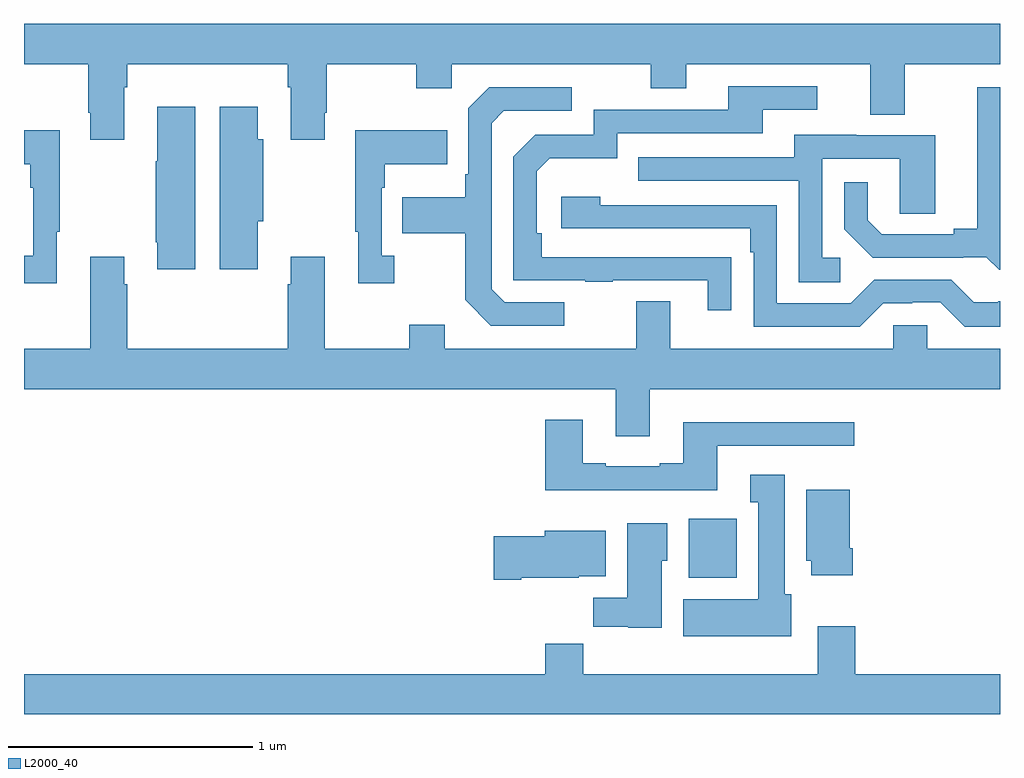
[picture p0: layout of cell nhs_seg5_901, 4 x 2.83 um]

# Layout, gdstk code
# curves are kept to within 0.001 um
import gdstk
lib = gdstk.Library(unit=1e-6, precision=1e-09)
def R(c, l, rs):  # rectangles x0, y0, x1, y1
    for r in rs: c.add(gdstk.rectangle(r[:2], r[2:], *l))
def P(c, l, *ps):  # polygons
    for p in ps: c.add(gdstk.Polygon(p, *l))
L2000_40 = (2000, 40)

nhs_seg5_901 = lib.new_cell('nhs_seg5_901')
R(nhs_seg5_901, L2000_40, [(171.725,851.99,171.922,852.232)])
P(nhs_seg5_901, L2000_40, [(169.411,854),(169.424,854),(169.424,854.096),(170.081,854.096),(170.081,854),(170.093,854),(170.093,853.785),(170.233,853.785),(170.233,853.897),(170.241,853.897),(170.241,854.096),(170.608,854.096),(170.608,853.997),(170.754,853.997),(170.754,854.096),(171.568,854.096),(171.568,853.997),(171.715,853.997),(171.715,854.096),(172.469,854.096),(172.469,853.888),(172.609,853.888),(172.609,854.096),(173,854.096),(173,854.26),(169,854.26),(169,854.096),(169.264,854.096),(169.264,853.897),(169.271,853.897),(169.271,853.785),(169.411,853.785)],
  [(171.899,853.304),(171.122,853.305),(171.122,853.402),(171.102,853.402),(171.102,853.656),(171.155,853.709),(171.432,853.709),(171.432,853.812),(172.027,853.812),(172.027,853.908),(172.252,853.908),(172.252,854.004),(171.887,854.004),(171.887,853.908),(171.336,853.908),(171.336,853.806),(171.096,853.806),(171.006,853.716),(171.006,853.209),(171.301,853.209),(171.301,853.204),(171.413,853.204),(171.413,853.209),(171.803,853.209),(171.803,853.086),(171.899,853.086)],
  [(173,854.001),(172.907,854.001),(172.907,853.421),(172.811,853.421),(172.811,853.398),(172.516,853.398),(172.459,853.455),(172.459,853.612),(172.362,853.612),(172.362,853.418),(172.478,853.302),(172.85,853.302),(172.85,853.305),(172.944,853.305),(172.996,853.253),(173,853.253)],
  [(171.214,853.119),(170.97,853.119),(170.916,853.173),(170.916,853.854),(170.967,853.905),(171.244,853.905),(171.244,854.001),(170.907,854.001),(170.82,853.914),(170.82,853.645),(170.808,853.645),(170.808,853.549),(170.551,853.549),(170.551,853.402),(170.808,853.402),(170.808,853.129),(170.913,853.023),(171.214,853.023)],
  [(169.702,853.921),(169.547,853.921),(169.547,853.697),(169.54,853.697),(169.54,853.366),(169.547,853.366),(169.547,853.254),(169.702,853.254)],
  [(169.957,853.452),(169.981,853.452),(169.981,853.788),(169.957,853.788),(169.957,853.921),(169.802,853.921),(169.802,853.254),(169.957,853.254)],
  [(170.518,853.31),(170.466,853.31),(170.466,853.589),(170.479,853.589),(170.479,853.685),(170.735,853.685),(170.735,853.825),(170.358,853.825),(170.358,853.409),(170.369,853.409),(170.369,853.197),(170.518,853.197)],
  [(169.135,853.409),(169.147,853.409),(169.147,853.825),(169,853.825),(169,853.685),(169.026,853.685),(169.026,853.589),(169.038,853.589),(169.038,853.31),(169,853.31),(169,853.197),(169.135,853.197)],
  [(172.345,853.302),(172.272,853.302),(172.272,853.707),(172.59,853.707),(172.59,853.483),(172.735,853.483),(172.735,853.803),(172.411,853.803),(172.411,853.807),(172.157,853.807),(172.157,853.713),(171.517,853.713),(171.517,853.617),(172.176,853.617),(172.176,853.201),(172.345,853.201)],
  [(173,853.123),(172.993,853.123),(172.993,853.119),(172.893,853.119),(172.8,853.212),(172.485,853.212),(172.389,853.116),(172.086,853.116),(172.086,853.518),(171.362,853.518),(171.362,853.552),(171.201,853.552),(171.201,853.422),(171.977,853.422),(171.977,853.325),(171.99,853.325),(171.99,853.02),(172.425,853.02),(172.521,853.116),(172.64,853.116),(172.64,853.119),(172.755,853.119),(172.855,853.019),(173,853.019)],
  [(171.565,852.764),(173,852.764),(173,852.928),(172.701,852.928),(172.701,853.026),(172.563,853.026),(172.563,852.928),(171.649,852.928),(171.649,853.123),(171.509,853.123),(171.509,852.928),(170.725,852.928),(170.725,853.027),(170.578,853.027),(170.578,852.928),(170.233,852.928),(170.233,853.306),(170.093,853.306),(170.093,853.193),(170.081,853.193),(170.081,852.928),(169.424,852.928),(169.424,853.193),(169.411,853.193),(169.411,853.306),(169.271,853.306),(169.271,852.928),(169,852.928),(169,852.764),(171.425,852.764),(171.425,852.57),(171.565,852.57)],
  [(171.841,852.531),(172.402,852.531),(172.402,852.628),(171.701,852.628),(171.701,852.46),(171.605,852.46),(171.605,852.447),(171.385,852.447),(171.385,852.46),(171.289,852.46),(171.289,852.637),(171.137,852.637),(171.137,852.35),(171.841,852.35)],
  [(172.144,851.922),(172.117,851.922),(172.117,852.412),(171.977,852.412),(171.977,852.299),(172.01,852.299),(172.01,851.902),(171.701,851.902),(171.701,851.75),(172.144,851.75)],
  [(172.397,852.112),(172.384,852.112),(172.384,852.352),(172.205,852.352),(172.205,852.06),(172.226,852.06),(172.226,852),(172.397,852)],
  [(171.613,852.06),(171.637,852.06),(171.637,852.214),(171.473,852.214),(171.473,851.908),(171.334,851.908),(171.334,851.79),(171.477,851.79),(171.477,851.786),(171.613,851.786)],
  [(171.037,851.99),(171.273,851.99),(171.273,851.996),(171.385,851.996),(171.385,852.184),(171.134,852.184),(171.134,852.161),(170.925,852.161),(170.925,851.983),(171.037,851.983)],
  [(173,851.596),(172.406,851.596),(172.406,851.791),(172.253,851.791),(172.253,851.596),(171.293,851.596),(171.293,851.72),(171.137,851.72),(171.137,851.596),(169,851.596),(169,851.432),(173,851.432)])

lib.write_gds('nhs_seg5_901.gds')
